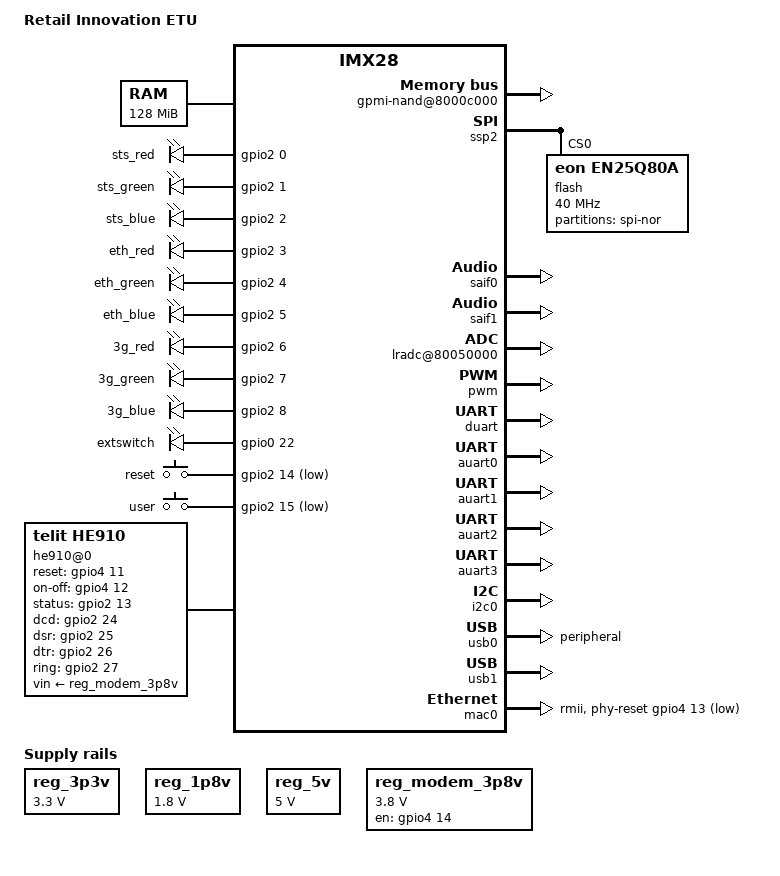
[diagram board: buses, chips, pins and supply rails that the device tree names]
/*
 * Copyright 2013 South Pole AB
 *
 * Based on:
 * Copyright 2012 Freescale Semiconductor, Inc.
 *
 * The code contained herein is licensed under the GNU General Public
 * License. You may obtain a copy of the GNU General Public License
 * Version 2 or later at the following locations:
 *
 * http://www.opensource.org/licenses/gpl-license.html
 * http://www.gnu.org/copyleft/gpl.html
 */

/dts-v1/;
#include <include/dt-bindings/gpio/gpio.h>
#include "imx28.dtsi"

/ {
	model = "Retail Innovation ETU";
	compatible = "ri,ri-etu", "fsl,imx28";

	chosen {
		bootargs = "console=ttyAM0,115200 rootfstype=ubifs ubi.mtd=rootfs root=ubi0_0 rw";
	};

	memory {
		reg = <0x40000000 0x08000000>;
	};

	apb@80000000 {
		apbh@80000000 {

			gpmi-nand@8000c000 {
			        #address-cells = <1>;
				#size-cells = <1>;

				pinctrl-names = "default";
				pinctrl-0 = <&gpmi_pins_a &gpmi_status_cfg>;
				status = "okay";
			};

			ssp2: ssp@80014000 {
				#address-cells = <1>;
				#size-cells = <0>;
				compatible = "fsl,imx28-spi";
				pinctrl-names = "default";
				pinctrl-0 = <&spi2_pins_a>;
				status = "okay";

				flash: m25p80@0 {
					#address-cells = <1>;
					#size-cells = <1>;
					compatible = "eon,en25q80a";
					spi-max-frequency = <40000000>;
					reg = <0>;

					partition@0x00000000 {
						label = "spi-nor";
						reg = <0x00000000 0x00100000>;
					};
				};
			};

			pinctrl@80018000 {
				pinctrl-names = "default";
				pinctrl-0 = <&hog_pins_a &hog_pins_pullup_a
						&hog_pins_1v8_a>;

				hog_pins_a: hog@0 {
					reg = <0>;
					fsl,pinmux-ids = <
						MX28_PAD_GPMI_CE2N__GPIO_0_18
						MX28_PAD_GPMI_CE3N__GPIO_0_19
						MX28_PAD_GPMI_RDY1__GPIO_0_21
						MX28_PAD_GPMI_RDY2__GPIO_0_22
						MX28_PAD_SSP0_DATA0__GPIO_2_0
						MX28_PAD_SSP0_DATA1__GPIO_2_1
						MX28_PAD_SSP0_DATA2__GPIO_2_2
						MX28_PAD_SSP0_DATA3__GPIO_2_3
						MX28_PAD_SSP0_DATA4__GPIO_2_4
						MX28_PAD_SSP0_DATA5__GPIO_2_5
						MX28_PAD_SSP0_DATA6__GPIO_2_6
						MX28_PAD_SSP0_DATA7__GPIO_2_7
						MX28_PAD_SSP0_CMD__GPIO_2_8
						MX28_PAD_SSP0_DETECT__GPIO_2_9
						MX28_PAD_SSP0_SCK__GPIO_2_10
						MX28_PAD_SSP1_SCK__GPIO_2_12
						MX28_PAD_SPDIF__GPIO_3_27
						MX28_PAD_PWM3__GPIO_3_28
						MX28_PAD_LCD_RESET__GPIO_3_30
						MX28_PAD_ENET0_TX_CLK__GPIO_4_5
						MX28_PAD_ENET0_RXD2__GPIO_4_9
						MX28_PAD_ENET0_RXD3__GPIO_4_10
						MX28_PAD_ENET0_RX_CLK__GPIO_4_13
						MX28_PAD_ENET0_COL__GPIO_4_14
					>;
					fsl,drive-strength = <MXS_DRIVE_4mA>;
					fsl,voltage = <MXS_VOLTAGE_HIGH>;
					fsl,pull-up = <MXS_PULL_DISABLE>;
				};

				hog_pins_pullup_a: hog-pullup {
					reg = <0>;
					fsl,pinmux-ids = <
						MX28_PAD_SSP1_DATA0__GPIO_2_14
						MX28_PAD_SSP1_DATA3__GPIO_2_15
					>;
					fsl,drive-strength = <MXS_DRIVE_4mA>;
					fsl,voltage = <MXS_VOLTAGE_HIGH>;
					fsl,pull-up = <MXS_PULL_ENABLE>;
				};

				hog_pins_1v8_a: hog_1v8 {
					fsl,pinmux-ids = <
						MX28_PAD_SSP1_CMD__GPIO_2_13
						MX28_PAD_SSP3_SCK__GPIO_2_24
						MX28_PAD_SSP3_MOSI__GPIO_2_25
						MX28_PAD_SSP3_MISO__GPIO_2_26
						MX28_PAD_SSP3_SS0__GPIO_2_27
						MX28_PAD_ENET0_TXD2__GPIO_4_11
						MX28_PAD_ENET0_TXD3__GPIO_4_12
					>;
					fsl,drive-strength = <MXS_DRIVE_4mA>;
					fsl,voltage = <MXS_VOLTAGE_LOW>;
					fsl,pull-up = <MXS_PULL_DISABLE>;
				};

				auart0_pins_1v8_a: auart0_1v8@0 {
					reg = <0>;
					fsl,pinmux-ids = <
						MX28_PAD_AUART0_RX__AUART0_RX
						MX28_PAD_AUART0_TX__AUART0_TX
						MX28_PAD_AUART0_CTS__AUART0_CTS
						MX28_PAD_AUART0_RTS__AUART0_RTS
					>;
					fsl,drive-strength = <MXS_DRIVE_4mA>;
					fsl,voltage = <MXS_VOLTAGE_LOW>;
					fsl,pull-up = <MXS_PULL_DISABLE>;
				};
			};
		};

		apbx@80040000 {
			saif0: saif@80042000 {
				pinctrl-names = "default";
				pinctrl-0 = <&saif0_pins_a>;
				status = "okay";
			};

			saif1: saif@80046000 {
				pinctrl-names = "default";
				pinctrl-0 = <&saif1_pins_a>;
				fsl,saif-master = <&saif0>;
				status = "okay";
			};

			lradc@80050000 {
				status = "okay";
				fsl,lradc-touchscreen-wires = <4>;
				fsl,ave-ctrl = <4>;
				fsl,ave-delay = <2>;
				fsl,settling = <10>;
			};

			pwm: pwm@80064000 {
				pinctrl-names = "default";
				pinctrl-0 = <&pwm2_pins_a>;
				status = "okay";
			};

			duart: serial@80074000 {
				pinctrl-names = "default";
				pinctrl-0 = <&duart_pins_a>;
				status = "okay";
			};

			auart0: serial@8006a000 {
				pinctrl-names = "default";
				pinctrl-0 = <&auart0_pins_1v8_a>;
				status = "okay";
			};

			auart1: serial@8006c000 {
				pinctrl-names = "default";
				pinctrl-0 = <&auart1_pins_a>;
				status = "okay";
			};

			auart2: serial@8006e000 {
				pinctrl-names = "default";
				pinctrl-0 = <&auart2_pins_a>;
				status = "okay";
			};

			auart3: serial@80070000 {
				pinctrl-names = "default";
				pinctrl-0 = <&auart3_pins_a>;
				status = "okay";
			};

			usbphy0: usbphy@8007c000 {
				status = "okay";
			};

			usbphy1: usbphy@8007e000 {
				status = "okay";
			};

			i2c0: i2c@80058000 {
				pinctrl-names = "default";
				pinctrl-0 = <&i2c0_pins_a>;
				status = "okay";
			};
		};
	};

	ahb@80080000 {
		usb0: usb@80080000 {
			dr_mode = "peripheral";
			status = "okay";
		};

		usb1: usb@80090000 {
			status = "okay";
		};

		mac0: ethernet@800f0000 {
			phy-mode = "rmii";
			pinctrl-names = "default";
			pinctrl-0 = <&mac0_pins_a>;
			phy-reset-gpios = <&gpio4 13 0>;
			phy-reset-duration = <100>;
			status = "okay";
		};
	};

	regulators {
		compatible = "simple-bus";
		#address-cells = <1>;
		#size-cells = <0>;

		reg_3p3v: regulator@0 {
			compatible = "regulator-fixed";
			reg = <0>;
			regulator-name = "3P3V";
			regulator-min-microvolt = <3300000>;
			regulator-max-microvolt = <3300000>;
			regulator-always-on;
		};

		reg_1p8v: regulator@1 {
			compatible = "regulator-fixed";
			reg = <1>;
			regulator-name = "1P8V";
			regulator-min-microvolt = <1800000>;
			regulator-max-microvolt = <1800000>;
			regulator-always-on;
		};

		reg_5v: regulator@2 {
			compatible = "regulator-fixed";
			reg = <2>;
			regulator-name = "5V";
			regulator-min-microvolt = <5000000>;
			regulator-max-microvolt = <5000000>;
			regulator-always-on;
		};

		reg_modem_3p8v: regulator@3 {
			compatible = "regulator-fixed";
			reg = <3>;
			regulator-name = "3p8v-he910";
			regulator-min-microvolt = <3800000>;
			regulator-max-microvolt = <3800000>;
			enable-active-high;
			gpio = <&gpio4 14 0>;
		};
	};

	leds {
		compatible = "gpio-leds";

		sts_red {
			gpios = <&gpio2 0 0>;
			default-state = "keep";
		};
		sts_green {
			gpios = <&gpio2 1 0>;
			default-state = "keep";
		};
		sts_blue {
			gpios = <&gpio2 2 0>;
			default-state = "keep";
		};

		eth_red {
			gpios = <&gpio2 3 0>;
			default-state = "keep";
		};
		eth_green {
			gpios = <&gpio2 4 0>;
			default-state = "keep";
		};
		eth_blue {
			gpios = <&gpio2 5 0>;
			default-state = "keep";
		};

		3g_red {
			gpios = <&gpio2 6 0>;
			default-state = "keep";
		};
		3g_green {
			gpios = <&gpio2 7 0>;
			default-state = "keep";
		};
		3g_blue {
			gpios = <&gpio2 8 0>;
			default-state = "keep";
		};

		extswitch {
			gpios = <&gpio0 22 0>;
			default-state = "off";
			linux,default-trigger = "transient";
		};
	};

	gpio-keys {
		compatible = "gpio-keys-polled";
		#address-cells = <1>;
		#size-cells = <0>;

		poll-interval = <100>;

		reset@0 {
			label = "reset";
			linux,code = <103>;
			gpios = <&gpio2 14 1>;
		};

		user@1 {
			label = "user";
			linux,code = <104>;
			gpios = <&gpio2 15 1>;
		};
	};

	usb-devices {
		compatible = "simple-bus";

		he910@0 {
			compatible = "telit,he910";
			reset-gpios = <&gpio4 11 GPIO_ACTIVE_HIGH>;
			on-off-gpios = <&gpio4 12 GPIO_ACTIVE_HIGH>;
			status-gpios = <&gpio2 13 GPIO_ACTIVE_HIGH>;
			dcd-gpios = <&gpio2 24 GPIO_ACTIVE_HIGH>;
			dsr-gpios = <&gpio2 25 GPIO_ACTIVE_HIGH>;
			dtr-gpios = <&gpio2 26 GPIO_ACTIVE_HIGH>;
			ring-gpios = <&gpio2 27 GPIO_ACTIVE_HIGH>;
			vin-supply = <&reg_modem_3p8v>;
		};
	};
};
